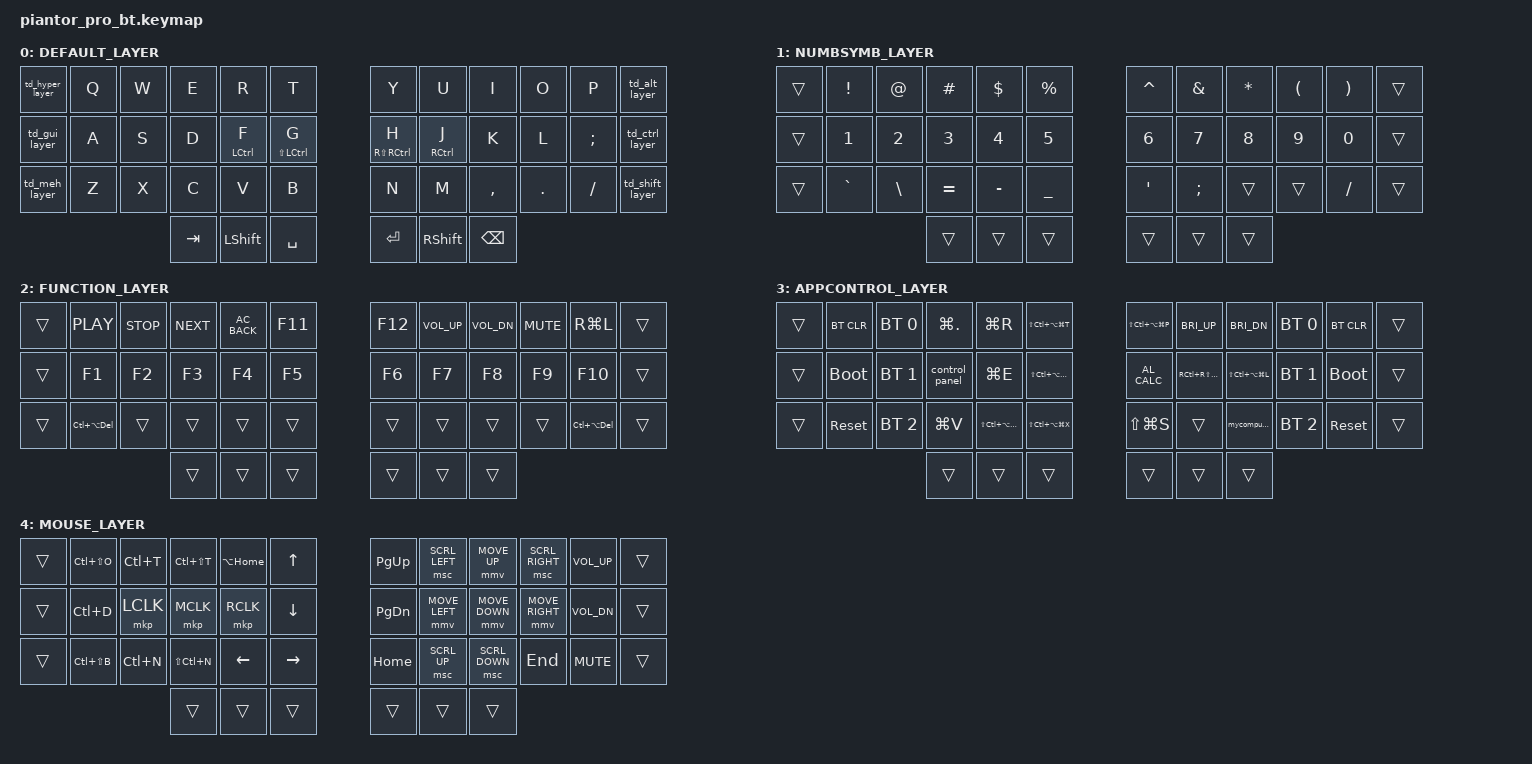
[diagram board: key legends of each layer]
/*
 * Copyright (c) 2020 The ZMK Contributors
 *
 * SPDX-License-Identifier: MIT
 */

#include <behaviors.dtsi>
#include <dt-bindings/zmk/keys.h>
#include <dt-bindings/zmk/bt.h>
#include <dt-bindings/zmk/pointing.h>

// Simplification for combo references

#define qkey 1
#define wkey 2
#define ekey 3
#define rkey 4
#define tkey 5
#define ykey 6
#define ukey 7
#define ikey 8
#define okey 9
#define pkey 10
#define akey 13
#define skey 14
#define dkey 15
#define fkey 16
#define gkey 17
#define hkey 18
#define jkey 19
#define kkey 20
#define lkey 21
#define semikey 22
#define zkey 25
#define xkey 26
#define ckey 27
#define vkey 28
#define bkey 29
#define nkey 30
#define mkey 31
#define commakey 32
#define periodkey 33
#define slashkey 34

/ {
    chosen {
        zmk,physical-layout = &default_layout;
    };
};

&caps_word {
    continue-list = <BACKSPACE DELETE>;
};

&mt {
    tapping-term-ms = <400>;
    flavor = "tap-preferred";
};

 / {
     behaviors {
         /* 1.  Hold‑tap “MO while held / Sticky‑Shift on tap”  */
         mo_sk: hold_tap_mo_sk {
             compatible        = "zmk,behavior-hold-tap";
             label             = "MO_SK";
             #binding-cells    = <2>;              /*  2 args */
             flavor            = "tap-preferred";
             tapping-term-ms   = <200>;
             bindings          = < &mo >, < &sk >; /* phandles only  */
         };

         /* 2.  Tap‑dance wrapper
          *     ─────────────────
          *     - 1×  → delegates to the hold‑tap above
          *     - 2×  → toggles Layer indicated
          */
         td_shift_layer: tap_dance_1 {
             compatible        = "zmk,behavior-tap-dance";
             label             = "TD_SHIFT_LAYER";
             #binding-cells    = <0>;
             tapping-term-ms   = <200>;
             bindings          = < &mo_sk 1 RSHIFT >,   /* 1 tap / hold */
                                 < &tog 1 >;            /* 2 taps       */
         };
         td_ctrl_layer: tap_dance_2 {
             compatible        = "zmk,behavior-tap-dance";
             label             = "TD_CTRL_LAYER";
             #binding-cells    = <0>;
             tapping-term-ms   = <200>;
             bindings          = < &mo_sk 2 RCTRL >,   /* 1 tap / hold */
                                 < &tog 2 >;            /* 2 taps       */
         };
         td_alt_layer: tap_dance_3 {
             compatible        = "zmk,behavior-tap-dance";
             label             = "TD_ALT_LAYER";
             #binding-cells    = <0>;
             tapping-term-ms   = <200>;
             bindings          = < &mo_sk 3 RALT >,   /* 1 tap / hold */
                                 < &tog 3 >;            /* 2 taps       */
         };
         td_meh_layer: tap_dance_4 {
             compatible        = "zmk,behavior-tap-dance";
             label             = "TD_MEH_LAYER";
             #binding-cells    = <0>;
             tapping-term-ms   = <200>;
             bindings          = < &mo_sk 1 LS(LA(LCTRL)) >,   /* 1 tap / hold */
                                 < &tog 1 >;            /* 2 taps       */
         };
         td_gui_layer: tap_dance_5 {
             compatible        = "zmk,behavior-tap-dance";
             label             = "TD_GUI_LAYER";
             #binding-cells    = <0>;
             tapping-term-ms   = <200>;
             bindings          = < &mo_sk 2 LGUI >,   /* 1 tap / hold */
                                 < &tog 2 >;            /* 2 taps       */
         };
         td_hyper_layer: tap_dance_6 {
             compatible        = "zmk,behavior-tap-dance";
             label             = "TD_HYPER_LAYER";
             #binding-cells    = <0>;
             tapping-term-ms   = <200>;
             bindings          = < &mo_sk 3 LG(LS(LA(LCTRL))) >,   /* 1 tap / hold */
                                 < &tog 3 >;            /* 2 taps       */
         };
     };
 };

/ {
    macros {
        control_panel: control_panel { 
            compatible = "zmk,behavior-macro";
            #binding-cells = <0>;
            bindings
                = <&macro_press &kp RGUI>
                , <&macro_tap &kp R>
		        , <&macro_wait_time 80>
                , <&macro_release &kp RGUI>
                , <&macro_tap &kp C &kp O &kp N &kp T &kp R &kp O &kp L &kp ENTER>
                ;
        };

        launch_chrome: launch_chrome { 
            compatible = "zmk,behavior-macro";
            #binding-cells = <0>;
            bindings
                = <&macro_press &kp RGUI>
                , <&macro_tap &kp R>
		        , <&macro_wait_time 80>
                , <&macro_release &kp RGUI>
                , <&macro_tap &kp C &kp H &kp R &kp O &kp M &kp E &kp ENTER>
                ;
        };

        mycomputer: mycomputer { 
            compatible = "zmk,behavior-macro";
            #binding-cells = <0>;
            bindings
                = <&macro_press &kp RGUI>
                , <&macro_tap &kp R>
		        , <&macro_wait_time 80>
                , <&macro_release &kp RGUI>
                , <&macro_tap &kp S &kp H &kp E &kp L &kp L &kp COLON &kp M &kp Y &kp C &kp O &kp M &kp P &kp U &kp T &kp E &kp R &kp F &kp O &kp L &kp D &kp E &kp R &kp ENTER>
                ;
        };
	
	    launch_vscode: launch_vscode { 
            compatible = "zmk,behavior-macro";
            #binding-cells = <0>;
            bindings
                = <&macro_press &kp RGUI>
                , <&macro_tap &kp R>
		        , <&macro_wait_time 80>
                , <&macro_release &kp RGUI>
                , <&macro_tap &kp C &kp O &kp D &kp E &kp ENTER>
                ;
        };

    	launch_edge: launch_edge { 
            compatible = "zmk,behavior-macro";
            #binding-cells = <0>;
            bindings
                = <&macro_press &kp RGUI>
                , <&macro_tap &kp R>
		        , <&macro_wait_time 80>
                , <&macro_release &kp RGUI>
                , <&macro_tap &kp M &kp I &kp C &kp R &kp O &kp S &kp O &kp F &kp T &kp MINUS &kp E &kp D &kp G &kp E &kp COLON &kp ENTER>
                ;
        };
    	
	    launch_notepadpp: launch_notepadpp { 
            compatible = "zmk,behavior-macro";
            #binding-cells = <0>;
            bindings
                = <&macro_press &kp RGUI>
                , <&macro_tap &kp R>
		        , <&macro_wait_time 80>
                , <&macro_release &kp RGUI>
                , <&macro_tap &kp N &kp O &kp T &kp E &kp P &kp A &kp D &kp PLUS &kp PLUS &kp ENTER>
                ;
        };
    	
        // Layer with mod when held
	
	    lm: lm {
	        compatible = "zmk,behavior-macro-two-param";
	        wait-ms = <0>;
	        tap-ms = <0>;
	        #binding-cells = <2>;
	        bindings
	            = <&macro_param_1to1>
	            , <&macro_press &mo MACRO_PLACEHOLDER>
	            , <&macro_param_2to1>
	            , <&macro_press &kp MACRO_PLACEHOLDER>
	            , <&macro_pause_for_release>
	            , <&macro_param_2to1>
	            , <&macro_release &kp MACRO_PLACEHOLDER>
	            , <&macro_param_1to1>
	            , <&macro_release &mo MACRO_PLACEHOLDER>
	            ;
	    };

    };
};

/ {
    combos {
        compatible = "zmk,combos";

        // Characters
      
        combo_doublequ {
            timeout-ms = <20>;
            require-prior-idle-ms = <100>;
            key-positions = <dkey fkey>;
            bindings = <&kp DQT>;
        };
        combo_singlequ {
            timeout-ms = <20>;
            require-prior-idle-ms = <100>;
            key-positions = <jkey kkey>;
            bindings = <&kp SQT>;
        };
        combo_lpar {
            timeout-ms = <20>;
            require-prior-idle-ms = <100>;
            key-positions = <ckey vkey>;
            bindings = <&kp LPAR>;
        };
        combo_rpar {
            timeout-ms = <20>;
            require-prior-idle-ms = <100>;
            key-positions = <mkey commakey>;
            bindings = <&kp RPAR>;
        };
        combo_lbrace {
            timeout-ms = <50>;
            require-prior-idle-ms = <100>;
            key-positions = <xkey ckey vkey>;
            bindings = <&kp LBKT>;
        };
        combo_rbrace {
            timeout-ms = <50>;
            require-prior-idle-ms = <100>;
            key-positions = <mkey commakey periodkey>;
            bindings = <&kp RBKT>;
        };
        combo_lcurly {
            timeout-ms = <50>;
            require-prior-idle-ms = <100>;
            key-positions = <xkey vkey>;
            bindings = <&kp LBRC>;
        };
        combo_rcurly {
            timeout-ms = <50>;
            require-prior-idle-ms = <100>;
            key-positions = <mkey periodkey>;
            bindings = <&kp RBRC>;
        };

        // macro combos

        combo_chrome {
            timeout-ms = <20>;
            require-prior-idle-ms = <1200>;
            key-positions = <ckey hkey>;
            bindings = <&launch_chrome>;
        };

        combo_mycomputer {
            timeout-ms = <20>;
            require-prior-idle-ms = <1200>;
            key-positions = <ckey ykey>;
            bindings = <&mycomputer>;
        };

        combo_cpanel {
            timeout-ms = <20>;
            require-prior-idle-ms = <1200>;
            key-positions = <ckey nkey>;
            bindings = <&control_panel>;
        };

        combo_vscode {
            timeout-ms = <20>;
            require-prior-idle-ms = <1200>;
            key-positions = <ckey ukey>;
            bindings = <&launch_vscode>;
        };

        combo_edge {
            timeout-ms = <20>;
            require-prior-idle-ms = <1200>;
            key-positions = <ckey jkey>;
            bindings = <&launch_edge>;
        };
        
        combo_notepadpp {
            timeout-ms = <20>;
            require-prior-idle-ms = <1200>;
            key-positions = <ckey mkey>;
            bindings = <&launch_notepadpp>;
        };

        // Layer combos
        
        combo_alpha {
            timeout-ms = <50>;
            require-prior-idle-ms = <200>;
            key-positions = <jkey kkey lkey>;
            bindings = <&to 0>;
        };
        combo_numbsym {
            timeout-ms = <50>;
            require-prior-idle-ms = <1000>;
            key-positions = <hkey jkey kkey>;
            bindings = <&tog 1>;
        };
        combo_numbsymosl {
            timeout-ms = <50>;
            require-prior-idle-ms = <200>;
            key-positions = <hkey kkey>;
            bindings = <&sl 1>;
        };
        combo_func {
            timeout-ms = <50>;
            require-prior-idle-ms = <1000>;
            key-positions = <nkey mkey commakey>;
            bindings = <&tog 2>;
        };
        combo_funcosl {
            timeout-ms = <50>;
            require-prior-idle-ms = <200>;
            key-positions = <nkey commakey>;
            bindings = <&sl 2>;
        };
        combo_app {
            timeout-ms = <50>;
            require-prior-idle-ms = <1000>;
            key-positions = <ykey ukey ikey>;
            bindings = <&tog 3>;
        };
        combo_apposl {
            timeout-ms = <50>;
            require-prior-idle-ms = <200>;
            key-positions = <ykey ikey>;
            bindings = <&sl 3>;
        };

        combo_mouse {
            timeout-ms = <300>;
            key-positions = <wkey ekey rkey tkey>;
            bindings = <&tog 4>;
        };
        
        // activate number layer with shift when held.

        comnbo_layermod_left {
            timeout-ms = <50>;
            require-prior-idle-ms = <100>;
            key-positions = <hkey jkey>;
            bindings = <&lm 1 RSHIFT>;
        };

        // Behavioral

        combo_esc {
            timeout-ms = <50>;
            require-prior-idle-ms = <100>;
            key-positions = <fkey gkey>;
            bindings = <&kp ESC>;
        };
   
        combo_winclose {
            timeout-ms = <20>;
            require-prior-idle-ms = <1200>;
            key-positions = <rkey tkey>;
            bindings = <&kp LC(F4)>;
        };
   
        combo_appclose {
            timeout-ms = <20>;
            require-prior-idle-ms = <1200>;
            key-positions = <vkey bkey>;
            bindings = <&kp LA(F4)>;
        };
        combo_caplock {
            timeout-ms = <50>;
            require-prior-idle-ms = <100>;
            key-positions = <zkey xkey ckey>;
            bindings = <&kp CAPS>;
        };
        combo_capsword {
            timeout-ms = <50>;
            require-prior-idle-ms = <100>;
            key-positions = <ckey bkey>;
            bindings = <&caps_word>;
        };
        combo_del {
            timeout-ms = <50>;
            require-prior-idle-ms = <100>;
            key-positions = <dkey gkey>;
            bindings = <&kp DEL>;
        };
        combo_leftarr {
            timeout-ms = <100>;
            require-prior-idle-ms = <100>;
            key-positions = <dkey fkey gkey>;
            bindings = <&kp LEFT>;
        };
        combo_rightarr {
            timeout-ms = <100>;
            require-prior-idle-ms = <100>;
            key-positions = <ekey rkey tkey>;
            bindings = <&kp RIGHT>;
        };
        combo_uparr {
            timeout-ms = <100>;
            require-prior-idle-ms = <100>;
            key-positions = <wkey ekey rkey>;
            bindings = <&kp UP>;
        };
        combo_dnarr {
            timeout-ms = <100>;
            require-prior-idle-ms = <100>;
            key-positions = <skey dkey fkey>;
            bindings = <&kp DOWN>;
        };
        combo_pgup {
            timeout-ms = <50>;
            require-prior-idle-ms = <100>;
            key-positions = <fkey jkey>;
            bindings = <&kp PG_UP>;
        };
        combo_pgdn {
            timeout-ms = <50>;
            require-prior-idle-ms = <100>;
            key-positions = <vkey mkey>;
            bindings = <&kp PG_DN>;
        };
        combo_home {
            timeout-ms = <50>;
            require-prior-idle-ms = <100>;
            key-positions = <gkey hkey>;
            bindings = <&kp HOME>;
        };
        combo_end {
            timeout-ms = <50>;
            require-prior-idle-ms = <100>;
            key-positions = <bkey nkey>;
            bindings = <&kp END>;
        };
        combo_teamsmute {
            timeout-ms = <50>;
            require-prior-idle-ms = <100>;
            key-positions = <rkey ukey>;
            bindings = <&kp LS(LC(M))>;
        };
        combo_teamsvidtog {
            timeout-ms = <50>;
            require-prior-idle-ms = <100>;
            key-positions = <tkey ykey>;
            bindings = <&kp LS(LC(O))>;
        };
        
		// Boot key combos

        combo_bootleft {
            timeout-ms = <200>;
            require-prior-idle-ms = <3000>;
            key-positions = <qkey tkey>;
            bindings = <&bootloader>;
        };

        combo_bootright {
            timeout-ms = <200>;
            require-prior-idle-ms = <3000>;
            key-positions = <ykey pkey>;
            bindings = <&bootloader>;
        };

        // Mouse combos

        combo_left_click {
            timeout-ms = <50>;
            require-prior-idle-ms = <25>;
            key-positions = <skey fkey>;
            bindings = <&mkp LCLK>;
        };
        combo_right_click {
            timeout-ms = <50>;
            require-prior-idle-ms = <25>;
            key-positions = <wkey rkey>;
            bindings = <&mkp  RCLK>;
        };
        combo_middle_click {
            timeout-ms = <50>;
            require-prior-idle-ms = <25>;
            key-positions = <ekey tkey>;
            bindings = <&mkp MCLK>;
        }; 
    };
};

/ {
    keymap {
        compatible = "zmk,keymap";

        default_layer {
            display-name = "DEFAULT_LAYER";
            // --------------------------------------------------------------------------------------
            // | SK HYPER |  Q  |  W  |  E  |  R   |  T  |  Y  |  U    |  I  |  O  |  P  | SK ALT   |
            // | SK LGUI  |  A  |  S  |  D  |  F   |  G  |  H  |  J    |  K  |  L  |  ;  | SK CTRL  |
            // | SK MEH   |  Z  |  X  |  C  |  V   |  B  |  N  |  M    |  ,  |  .  |  /  | SK SHIFT |
            //                        | TAB | SHFT | SPC | ENT | SHIFT | BSP |
            bindings = <
                &td_hyper_layer &kp Q &kp W  &kp E   &kp R       &kp T           &kp Y           &kp U       &kp I     &kp O   &kp P    &td_alt_layer
                &td_gui_layer   &kp A &kp S  &kp D   &mt LCTRL F &mt LS(LCTRL) G &mt RS(RCTRL) H &mt RCTRL J &kp K     &kp L   &kp SEMI &td_ctrl_layer
                &td_meh_layer   &kp Z &kp X  &kp C   &kp V       &kp B           &kp N           &kp M       &kp COMMA &kp DOT &kp FSLH &td_shift_layer
                                             &kp TAB &kp LSHFT   &kp SPACE       &kp RET         &kp RSHIFT  &kp BSPC
            >;
        };

        numbsym_layer {
            display-name = "NUMBSYMB_LAYER";
            // --------------------------------------------------------------------------------------
            // | SK HYPER |  !  |  @  |  #  |  $   |  %  |  ^  |  &    |  *  |  (  |  )  | SK ALT   |
            // | SK LGUI  |  1  |  2  |  3  |  4   |  5  |  6  |  7    |  8  |  9  |  0  | SK CTRL  |
            // | SK MEH   |  `  |  \  |  =  |  -   |  _  |  '  |  ;    |  ,  |  .  |  /  | SK SHIFT |
            //                        | TAB | SHFT | SPC | ENT | SHIFT | BSP |
            bindings = <
                &trans &kp EXCL  &kp AT   &kp HASH  &kp DLLR  &kp PRCNT &kp CARET &kp AMPS &kp ASTRK &kp LPAR &kp RPAR  &trans
                &trans &kp N1    &kp N2   &kp N3    &kp N4    &kp N5    &kp N6    &kp N7   &kp N8    &kp N9   &kp N0    &trans
                &trans &kp GRAVE &kp BSLH &kp EQUAL &kp MINUS &kp UNDER &kp SQT   &kp SEMI &trans    &trans   &kp SLASH &trans
                                          &trans    &trans    &trans    &trans    &trans   &trans 
            >;
        };

        function_layer {
            display-name = "FUNCTION_LAYER";
            // --------------------------------------------------------------------------------------
            // | SK HYPER | PLAY  | STOP | NXT | BACK | F11 | F12 | VUP  | VDN | MUTE | LOCK  | SK ALT   |
            // | SK LGUI  | F1    | F2   | F3  | F4   | F5  | F6  | F7   | F8  | F9   | F10   | SK CTRL  |
            // | SK MEH   | CADEL | X    | C   | V    | B   | N   | M    | ,   |  .   | CADEL | SK SHIFT |
            //                           | TAB | SHFT | SPC | ENT | SHFT | BSP |
            bindings = <
                &trans &kp C_PLAY      &kp C_STOP &kp C_NEXT &kp C_AC_BACK &kp F11 &kp F12 &kp K_VOL_UP &kp C_VOL_DN &kp C_MUTE &kp RG(L)       &trans
                &trans &kp F1          &kp F2     &kp F3     &kp F4        &kp F5  &kp F6  &kp F7       &kp F8       &kp F9     &kp F10         &trans
                &trans &kp LC(LA(DEL)) &trans     &trans     &trans        &trans  &trans  &trans       &trans       &trans     &kp LC(LA(DEL)) &trans
                                                  &trans     &trans        &trans  &trans  &trans       &trans 
            >;
        };

        appcontrol_layer {
            display-name = "APPCONTROL_LAYER";
            // --------------------------------------------------------------------------------------------------
            // | SK HYPER | BTCLR | BT0 | EMOJI  | RUN   | TEAMS | PWRPT | BRIUP | BRDN  | BT0 | BTCLR | SK ALT   |
            // | SK LGUI  | BOOT  | BT1 | CTRLPN | FILX  | WORD  | CALC  | TASK  | LNKIN | BT1 | BOOT  | SK CTRL  |
            // | SK MEH   | RESET | BT2 | CLIPB  | OUTLK | EXCEL | SNIP  |  M    | MYCMP | BT2 | RESET | SK SHIFT |
            //                          | TAB    | SHFT  | SPC   | ENT    | SHFT | BCKSP |
            bindings = <
                &trans &bt BT_CLR  &bt BT_SEL 0 &kp LG(DOT)    &kp LG(R)             &kp LS(LC(LA(LG(T)))) &kp LS(LC(LA(LG(P)))) &kp C_BRI_UP    &kp C_BRI_DN          &bt BT_SEL 0 &bt BT_CLR  &trans
                &trans &bootloader &bt BT_SEL 1 &control_panel &kp LG(E)             &kp LS(LC(LA(LG(W)))) &kp C_AL_CALC         &kp RC(RS(ESC)) &kp LS(LC(LA(LG(L)))) &bt BT_SEL 1 &bootloader &trans
                &trans &sys_reset  &bt BT_SEL 2 &kp LG(V)      &kp LS(LC(LA(LG(O)))) &kp LS(LC(LA(LG(X)))) &kp LS(LG(S))         &trans          &mycomputer           &bt BT_SEL 2 &sys_reset  &trans
                                                &trans         &trans                &trans                &trans                &trans          &trans       
            >;
        };

        mouse_layer {
            display-name = "MOUSE_LAYER";
            // -------------------------------------------------------------------------------------------------------------
            // | SK HYPER | BKMRKS | NEWTB  | LASTTAB | HOME  | UP    | PGUP | SCRLLFT | MOUSUP | SCRLLRT | VOLUP | SK ALT   |
            // | SK LGUI  | MKBKRK | LFCLK  | MIDCLK  | RTCLK | DOWN  | PGDN | MOUSLFT | MOUSDN | MOUSRT  | VOLDN | SK CTRL  |
            // | SK MEH   | BKMBAR | NEWWIN | INCOG   | LEFT  | RIGHT | HOME | SCRLUP  | SCRLDN | END     | MUTE  | SK SHIFT |
            //                               | TAB    | SHFT  | SPC   | ENT  | SHIFT   | BSP    |
            bindings = <
                &trans &kp LC(LS(O)) &kp LC(T) &kp LC(LS(T)) &kp LA(HOME) &kp UP    &kp PG_UP &msc SCRL_LEFT &mmv MOVE_UP   &msc SCRL_RIGHT &kp K_VOL_UP &trans
                &trans &kp LC(D)     &mkp LCLK &mkp MCLK     &mkp  RCLK   &kp DOWN  &kp PG_DN &mmv MOVE_LEFT &mmv MOVE_DOWN &mmv MOVE_RIGHT &kp K_VOL_DN &trans
                &trans &kp LC(LS(B)) &kp LC(N) &kp LS(LC(N)) &kp LEFT     &kp RIGHT &kp HOME  &msc SCRL_UP   &msc SCRL_DOWN &kp END         &kp K_MUTE   &trans
                                               &trans        &trans       &trans    &trans    &trans         &trans       
            >;
        };
    };
};
